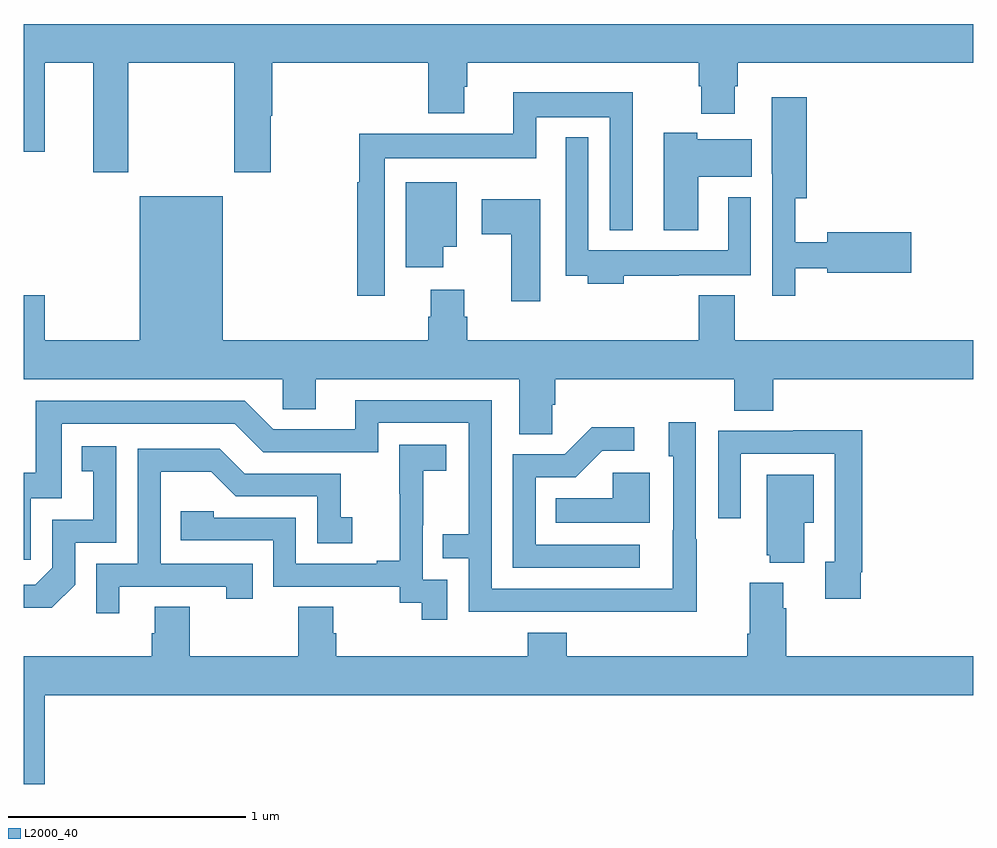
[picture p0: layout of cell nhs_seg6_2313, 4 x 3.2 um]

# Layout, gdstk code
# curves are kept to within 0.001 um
import gdstk
lib = gdstk.Library(unit=1e-6, precision=1e-09)
def P(c, l, *ps):  # polygons
    for p in ps: c.add(gdstk.Polygon(p, *l))
L2000_40 = (2000, 40)

nhs_seg6_2313 = lib.new_cell('nhs_seg6_2313')
P(nhs_seg6_2313, L2000_40, [(249.441,956.66),(249.886,956.66),(249.886,956.199),(250.041,956.199),(250.041,956.438),(250.046,956.438),(250.046,956.66),(250.703,956.66),(250.703,956.447),(250.855,956.447),(250.855,956.559),(250.868,956.559),(250.868,956.66),(251.843,956.66),(251.843,956.561),(251.855,956.561),(251.855,956.445),(251.995,956.445),(251.995,956.561),(252.008,956.561),(252.008,956.66),(253,956.66),(253,956.824),(249,956.824),(249,956.286),(249.088,956.286),(249.088,956.66),(249.293,956.66),(249.293,956.199),(249.441,956.199)],
  [(250.521,956.258),(251.16,956.258),(251.16,956.432),(251.469,956.432),(251.469,955.955),(251.566,955.955),(251.566,956.536),(251.063,956.536),(251.063,956.362),(250.413,956.362),(250.413,956.158),(250.405,956.158),(250.405,955.68),(250.521,955.68)],
  [(252.25,955.794),(252.386,955.794),(252.386,955.775),(252.739,955.775),(252.739,955.946),(252.386,955.946),(252.386,955.904),(252.25,955.904),(252.25,956.09),(252.299,956.09),(252.299,956.515),(252.152,956.515),(252.152,956.194),(252.153,956.194),(252.153,955.68),(252.25,955.68)],
  [(251.842,956.18),(252.067,956.18),(252.067,956.338),(251.838,956.338),(251.838,956.365),(251.696,956.365),(251.696,955.956),(251.842,955.956)],
  [(251.528,955.764),(251.759,955.764),(251.759,955.766),(252.063,955.766),(252.063,956.095),(251.967,956.095),(251.967,955.87),(251.379,955.87),(251.379,956.347),(251.283,956.347),(251.283,955.764),(251.375,955.764),(251.375,955.73),(251.528,955.73)],
  [(250.768,955.886),(250.825,955.886),(250.825,956.158),(250.61,956.158),(250.61,955.8),(250.768,955.8)],
  [(251.226,955.219),(251.24,955.219),(251.24,955.328),(251.993,955.328),(251.993,955.195),(252.158,955.195),(252.158,955.328),(253,955.328),(253,955.492),(251.995,955.492),(251.995,955.681),(251.843,955.681),(251.843,955.492),(250.868,955.492),(250.868,955.59),(250.855,955.59),(250.855,955.705),(250.715,955.705),(250.715,955.59),(250.703,955.59),(250.703,955.492),(249.838,955.492),(249.838,956.098),(249.488,956.098),(249.488,955.492),(249.088,955.492),(249.088,955.681),(249,955.681),(249,955.328),(250.092,955.328),(250.092,955.201),(250.231,955.201),(250.231,955.328),(251.087,955.328),(251.087,955.096),(251.226,955.096)],
  [(251.176,956.086),(250.929,956.086),(250.929,955.939),(251.054,955.939),(251.054,955.656),(251.176,955.656)],
  [(251.835,954.653),(251.832,954.653),(251.832,955.147),(251.717,955.147),(251.717,955.002),(251.736,955.002),(251.735,954.444),(250.971,954.444),(250.971,955.239),(250.397,955.239),(250.397,955.116),(250.05,955.116),(249.93,955.236),(249.051,955.236),(249.051,954.934),(249,954.934),(249,954.567),(249.03,954.567),(249.03,954.825),(249.159,954.825),(249.159,955.14),(249.888,955.14),(250.008,955.02),(250.494,955.02),(250.494,955.143),(250.875,955.143),(250.875,954.674),(250.765,954.674),(250.765,954.573),(250.875,954.573),(250.875,954.348),(251.835,954.347)],
  [(251.596,954.63),(251.157,954.63),(251.157,954.915),(251.326,954.915),(251.437,955.026),(251.572,955.026),(251.572,955.124),(251.393,955.124),(251.28,955.011),(251.061,955.011),(251.061,954.534),(251.596,954.534)],
  [(252.526,954.514),(252.533,954.514),(252.533,955.112),(252.241,955.112),(252.241,955.11),(251.925,955.11),(251.925,954.741),(252.021,954.741),(252.021,955.014),(252.417,955.014),(252.417,954.558),(252.377,954.558),(252.377,954.402),(252.526,954.402)],
  [(250.785,954.483),(250.68,954.483),(250.68,954.713),(250.682,954.713),(250.682,954.941),(250.78,954.941),(250.78,955.051),(250.582,955.051),(250.582,954.845),(250.583,954.845),(250.583,954.562),(250.487,954.562),(250.487,954.549),(250.146,954.549),(250.146,954.744),(249.801,954.744),(249.801,954.771),(249.661,954.771),(249.661,954.648),(250.05,954.648),(250.05,954.453),(250.584,954.453),(250.584,954.385),(250.677,954.385),(250.677,954.315),(250.785,954.315)],
  [(249.216,954.462),(249.216,954.639),(249.39,954.639),(249.39,955.045),(249.244,955.045),(249.244,954.939),(249.293,954.939),(249.293,954.735),(249.12,954.735),(249.12,954.534),(249.048,954.462),(249,954.462),(249,954.365),(249.118,954.365)],
  [(249.403,954.453),(249.854,954.453),(249.854,954.402),(249.965,954.402),(249.965,954.549),(249.576,954.549),(249.576,954.938),(249.79,954.938),(249.894,954.834),(250.236,954.834),(250.236,954.636),(250.384,954.636),(250.384,954.745),(250.335,954.745),(250.335,954.93),(249.931,954.93),(249.826,955.035),(249.48,955.035),(249.48,954.549),(249.306,954.549),(249.306,954.342),(249.403,954.342)],
  [(251.638,954.934),(251.481,954.934),(251.481,954.826),(251.242,954.826),(251.242,954.722),(251.638,954.722)],
  [(252.289,954.722),(252.328,954.722),(252.328,954.925),(252.131,954.925),(252.131,954.585),(252.143,954.585),(252.143,954.554),(252.289,954.554)],
  [(249.088,953.996),(253,953.996),(253,954.16),(252.212,954.16),(252.212,954.362),(252.199,954.362),(252.199,954.469),(252.059,954.469),(252.059,954.256),(252.047,954.256),(252.047,954.16),(251.288,954.16),(251.288,954.259),(251.123,954.259),(251.123,954.16),(250.316,954.16),(250.316,954.258),(250.303,954.258),(250.303,954.368),(250.156,954.368),(250.156,954.16),(249.699,954.16),(249.699,954.368),(249.551,954.368),(249.551,954.258),(249.539,954.258),(249.539,954.16),(249,954.16),(249,953.622),(249.088,953.622)])

lib.write_gds('nhs_seg6_2313.gds')
